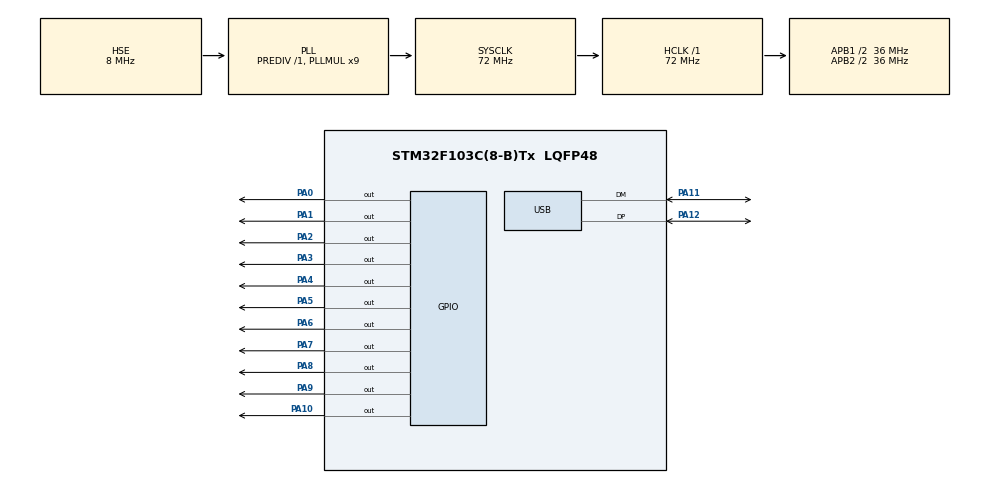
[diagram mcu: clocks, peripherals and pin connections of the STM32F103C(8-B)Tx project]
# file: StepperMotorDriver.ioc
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Mcu.Family=STM32F1
Mcu.Name=STM32F103C(8-B)Tx
Mcu.Package=LQFP48
NVIC.PriorityGroup=NVIC_PRIORITYGROUP_4
NVIC.TIM2_IRQn=true\:0\:0\:false\:false\:true\:true\:true
NVIC.TIM3_IRQn=true\:0\:0\:false\:false\:true\:true\:true
NVIC.TIM4_IRQn=true\:0\:0\:false\:false\:true\:true\:true
NVIC.USB_LP_CAN1_RX0_IRQn=true\:0\:0\:false\:false\:true\:false\:true
PA0-WKUP.Signal=GPIO_Output
PA1.Signal=GPIO_Output
PA10.Signal=GPIO_Output
PA11.Mode=Device
PA11.Signal=USB_DM
PA12.Mode=Device
PA12.Signal=USB_DP
PA13.Mode=Serial_Wire
PA13.Signal=SYS_JTMS-SWDIO
PA14.Mode=Serial_Wire
PA14.Signal=SYS_JTCK-SWCLK
PA2.Signal=GPIO_Output
PA3.Signal=GPIO_Output
PA4.Signal=GPIO_Output
PA5.Signal=GPIO_Output
PA6.Signal=GPIO_Output
PA7.Signal=GPIO_Output
PA8.Signal=GPIO_Output
PA9.Signal=GPIO_Output
PD0-OSC_IN.Mode=HSE-External-Oscillator
PD0-OSC_IN.Signal=RCC_OSC_IN
PD1-OSC_OUT.Mode=HSE-External-Oscillator
PD1-OSC_OUT.Signal=RCC_OSC_OUT
ProjectManager.HeapSize=0x200
ProjectManager.StackSize=0x400
ProjectManager.TargetToolchain=STM32CubeIDE
RCC.AHBFreq_Value=72000000
RCC.APB1CLKDivider=RCC_HCLK_DIV2
RCC.APB1Freq_Value=36000000
RCC.APB1TimFreq_Value=72000000
RCC.APB2CLKDivider=RCC_HCLK_DIV2
RCC.APB2Freq_Value=36000000
RCC.APB2TimFreq_Value=72000000
RCC.HCLKFreq_Value=72000000
RCC.PLLMUL=RCC_PLL_MUL9
RCC.PLLSourceVirtual=RCC_PLLSOURCE_HSE
RCC.SYSCLKFreq_VALUE=72000000
RCC.SYSCLKSource=RCC_SYSCLKSOURCE_PLLCLK
RCC.USBFreq_Value=48000000
RCC.USBPrescaler=RCC_USBCLKSOURCE_PLL_DIV1_5
TIM2.Period=286
TIM2.Prescaler=256
TIM3.Period=286
TIM3.Prescaler=256
TIM4.Period=286
TIM4.Prescaler=256
USB_DEVICE.CLASS_NAME_FS=CDC
USB_DEVICE.MANUFACTURER_STRING=Stephen Kingston
USB_DEVICE.PRODUCT_STRING_CDC_FS=Stephen Kingston COM Port
USB_DEVICE.VirtualMode=Cdc
USB_DEVICE.VirtualModeFS=Cdc_FS
VP_TIM2_VS_ClockSourceINT.Mode=Internal
VP_TIM3_VS_ClockSourceINT.Mode=Internal
VP_TIM4_VS_ClockSourceINT.Mode=Internal
VP_USB_DEVICE_VS_USB_DEVICE_CDC_FS.Mode=CDC_FS
board=custom

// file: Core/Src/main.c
/* USER CODE BEGIN Header */
/**
  ******************************************************************************
  * @file           : main.c
  * @brief          : Main program body
  ******************************************************************************
  * @attention
  *
  * <h2><center>&copy; Copyright (c) 2020 STMicroelectronics.
  * All rights reserved.</center></h2>
  *
  * This software component is licensed by ST under BSD 3-Clause license,
  * the "License"; You may not use this file except in compliance with the
  * License. You may obtain a copy of the License at:
  *                        opensource.org/licenses/BSD-3-Clause
  *
  ******************************************************************************
  */
/* USER CODE END Header */

#include "main.h"
#include "usb_device.h"

/* USER CODE BEGIN Includes */
#include <stdbool.h>

/* USER CODE END Includes */

/* USER CODE BEGIN PTD */

#define NO_OF_RAMP_STEPS 64
#define CLOCKWISE -1
#define ANTICLOCKWISE 1
#define MIN_INTERVAL 100.0
#define MAX_INTERVAL 1000.0
#define F_CPU 72000000UL
#define ACTIVATED 1
#define DEACTIVATED 0
#define NUM_OF_STEPPER_MOTORS 3

#define ABSOLUTE_UPPER_LIMIT 533 //30 degrees on both sides
#define ABSOLUTE_LOWER_LIMIT 0
#define INITIAL_POSITION 267 //(ABSOLUTE_UPPER_LIMIT / 2) + 1

/* USER CODE END PTD */

TIM_HandleTypeDef htim2;
TIM_HandleTypeDef htim3;
TIM_HandleTypeDef htim4;

/* USER CODE BEGIN PV */

static const int TIME_CONSTANT[NO_OF_RAMP_STEPS] = {
		1000,
		1999,
		2996,
		3992,
		4985,
		5975,
		6962,
		7945,
		8923,
		9896,
		10863,
		11825,
		12779,
		13726,
		14666,
		15598,
		16520,
		17434,
		18338,
		19232,
		20115,
		20987,
		21847,
		22695,
		23531,
		24354,
		25163,
		25959,
		26741,
		27507,
		28259,
		28996,
		29716,
		30421,
		31108,
		31779,
		32433,
		33069,
		33687,
		34287,
		34869,
		35432,
		35975,
		36499,
		37004,
		37489,
		37954,
		38398,
		38822,
		39225,
		39607,
		39969,
		40309,
		40627,
		40925,
		41200,
		41454,
		41686,
		41896,
		42084,
		42251,
		42395,
		42517,
		42617
};

static const float cosine[NO_OF_RAMP_STEPS] = {
		0.9997,
		0.9988,
		0.9973,
		0.9952,
		0.9925,
		0.9892,
		0.9853,
		0.9808,
		0.9757,
		0.97,
		0.9638,
		0.9569,
		0.9495,
		0.9415,
		0.933,
		0.9239,
		0.9142,
		0.904,
		0.8932,
		0.8819,
		0.8701,
		0.8577,
		0.8448,
		0.8315,
		0.8176,
		0.8032,
		0.7883,
		0.773,
		0.7572,
		0.7409,
		0.7242,
		0.7071,
		0.6895,
		0.6715,
		0.6532,
		0.6344,
		0.6152,
		0.5957,
		0.5758,
		0.5556,
		0.535,
		0.5141,
		0.4929,
		0.4714,
		0.4496,
		0.4275,
		0.4052,
		0.3827,
		0.3599,
		0.3369,
		0.3137,
		0.2903,
		0.2667,
		0.243,
		0.2191,
		0.1951,
		0.171,
		0.1467,
		0.1224,
		0.098,
		0.0736,
		0.0491,
		0.0245,
		0
};

volatile uint8_t previousMotionComplete = 1;
volatile uint8_t speedFactor = 1;

/* USER CODE END PV */

void SystemClock_Config(void);
static void MX_GPIO_Init(void);
static void MX_TIM2_Init(void);
static void MX_TIM3_Init(void);
static void MX_TIM4_Init(void);
/* USER CODE BEGIN PFP */
void setNextInterruptInterval(StepperMotor* motor);
void ramp(uint8_t rampCount, TIM_HandleTypeDef* timerHandle, volatile float scaleFactor);

/* USER CODE END PFP */

/* USER CODE BEGIN 0 */

void microsecondDelay()
{
	for (int i = 0; i < 2; i++)
	{}
}

void setDirectionS0(int direction)
{
	if (direction == ANTICLOCKWISE)
	{
		HAL_GPIO_WritePin(GPIOA, GPIO_PIN_1, SET);
	}
	else
	{
		HAL_GPIO_WritePin(GPIOA, GPIO_PIN_1, RESET);
	}
}

void setDirectionS1(int direction)
{
	if (direction == ANTICLOCKWISE)
	{
		HAL_GPIO_WritePin(GPIOA, GPIO_PIN_3, SET);
	}
	else
	{
		HAL_GPIO_WritePin(GPIOA, GPIO_PIN_3, RESET);
	}
}

void setDirectionS2(int direction)
{
	if (direction == ANTICLOCKWISE)
	{
		HAL_GPIO_WritePin(GPIOA, GPIO_PIN_5, SET);
	}
	else
	{
		HAL_GPIO_WritePin(GPIOA, GPIO_PIN_5, RESET);
	}
}

void sendPulseS0()
{
	 HAL_GPIO_TogglePin(GPIOA, GPIO_PIN_0);
	 microsecondDelay();
	 HAL_GPIO_TogglePin(GPIOA, GPIO_PIN_0);
}

void sendPulseS1()
{
	 HAL_GPIO_TogglePin(GPIOA, GPIO_PIN_2);
	 microsecondDelay();
	 HAL_GPIO_TogglePin(GPIOA, GPIO_PIN_2);
}

void sendPulseS2()
{
	 HAL_GPIO_TogglePin(GPIOA, GPIO_PIN_4);
	 microsecondDelay();
	 HAL_GPIO_TogglePin(GPIOA, GPIO_PIN_4);
}

void motionComplete(StepperMotor* motor)
{
	motor->currentCount = 0;
	motor->targetCount = 0;
	motor->rampingUp = 0;
	motor->rampingDown = 0;
	motor->rampUpCount = 0;
	motor->rampDownCount = 0;
	motor->estDurationOfMovement = 0;
}

void programInit()
{
	//Timer Initializations
	motor[0].timerHandle = &htim2;
	motor[1].timerHandle = &htim3;
	motor[2].timerHandle = &htim4;

	//Direction-set function pointers
	motor[0].setDirection = setDirectionS0;
	motor[1].setDirection = setDirectionS1;
	motor[2].setDirection = setDirectionS2;

	//Set pulse pointers
	motor[0].sendPulse = sendPulseS0;
	motor[1].sendPulse = sendPulseS1;
	motor[2].sendPulse = sendPulseS2;

	newCommandAvailable = 0;
	previousMotionComplete = 1;

	for (uint8_t i = 0; i < NUM_OF_STEPPER_MOTORS; i++)
	{
		motionComplete(&motor[i]);
		motor[i].scaleFactor = 1;
		motor[i].direction = CLOCKWISE;

		motor[i].absolutePosition = INITIAL_POSITION;
		motor[i].pulseFlag = 0;
		motor[i].estDurationOfMovement = 0;
	}
}

void setNextInterruptInterval(StepperMotor* motor)
{
	if (abs(motor->targetCount) > 2*NO_OF_RAMP_STEPS)
	{
		//Calculate next delay
		if (motor->currentCount < NO_OF_RAMP_STEPS)
		{
			motor->rampUpCount = abs(motor->currentCount);
			ramp(motor->rampUpCount, motor->timerHandle, motor->scaleFactor);

			motor->rampingUp = ACTIVATED;
			motor->rampingDown = DEACTIVATED;
		}
		else if (motor->targetCount - motor->currentCount < NO_OF_RAMP_STEPS)
		{
			motor->rampDownCount = abs(motor->targetCount - motor->currentCount);
			ramp(motor->rampDownCount, motor->timerHandle, motor->scaleFactor);
			motor->rampingDown = ACTIVATED;
			motor->rampingUp = DEACTIVATED;
		}
		else if (motor->targetCount == motor->currentCount)
		{
			motionComplete(motor);
		}
	}
	else
	{
		if (motor->currentCount < (int)(abs(motor->targetCount)/2.0))
		{
			motor->rampUpCount = abs((motor->currentCount));
			ramp(motor->rampUpCount, motor->timerHandle, motor->scaleFactor);
			motor->rampingUp = ACTIVATED;
			motor->rampingDown = DEACTIVATED;
		}
		else if (motor->targetCount == motor->currentCount)
		{
			motionComplete(motor);
		}
		else if (motor->currentCount >= (int)(abs(motor->targetCount)/2.0))
		{
			motor->rampDownCount = abs((motor->targetCount - motor->currentCount));
			ramp(motor->rampDownCount, motor->timerHandle, motor->scaleFactor);
			motor->rampingDown = ACTIVATED;
			motor->rampingUp = DEACTIVATED;
		}
	}
}

void ramp(uint8_t rampCount, TIM_HandleTypeDef* timerHandle, volatile float scaleFactor)
{
	uint16_t nextCompareValue = (uint16_t)(((MIN_INTERVAL/1000000.0)*(F_CPU/PRESCALER) +
			((MAX_INTERVAL - MIN_INTERVAL)/1000000.0)*(F_CPU/PRESCALER)*cosine[rampCount])*scaleFactor*speedFactor);

	__HAL_TIM_SET_AUTORELOAD(timerHandle, nextCompareValue);
}

uint8_t max(volatile int* values)
{
	uint8_t max;
	if (values[0] > values[1])
		max = 0;
	else
		max = 1;
	if (values[2] > values[max])
		max = 2;

	return max;
}

void setScaleFactors()
{

	volatile int values[3] = {motor[0].estDurationOfMovement, motor[1].estDurationOfMovement, motor[2].estDurationOfMovement};
	uint8_t maxMotorIndex = max(&values[0]);

	/*
	 * Perform check to ensure that Timer Compare Register does not overflow after scaling.
	 * Disables scaling in such a scenario - likely when scaling factor is too large -
	 * if 65000 < Initial Period * ScalingFactor
	 */

	for (uint8_t i = 0; i < NUM_OF_STEPPER_MOTORS; i++)
	{
		if (motor[i].estDurationOfMovement != 0)
		{
			motor[i].scaleFactor = (float)motor[maxMotorIndex].estDurationOfMovement/(float)motor[i].estDurationOfMovement;

			if ((MAX_INTERVAL/1000000.0)*(F_CPU/PRESCALER)*motor[i].scaleFactor > 65000)
				motor[i].scaleFactor = 1;
		}
	}
	MX_TIM2_Init();
	MX_TIM3_Init();
	MX_TIM4_Init();
}

float getDurationOfUninterruptedMovement(int numOfSteps)
{
	float duration = 0;
	if (numOfSteps > 64)
	{
		duration = (2.0 * (float)TIME_CONSTANT[NO_OF_RAMP_STEPS - 1] / 1000.0) + (((float)numOfSteps - (2 *NO_OF_RAMP_STEPS)) * (float)MIN_INTERVAL/1000.0);
	}
	else
	{
		duration = 2.0 * TIME_CONSTANT[(numOfSteps/2) - 1] / 1000;
	}

	return duration;
}

void runMotor(StepperMotor* motor)
{
	 motor->sendPulse();
	 motor->pulseFlag = 0;
	 motor->currentCount ++;
	 motor->absolutePosition += motor->direction;

	 if (motor->currentCount == motor->targetCount)
	 {
		 motionComplete(motor);
	 }
	 else if (motor->currentCount <= NO_OF_RAMP_STEPS ||
			 abs(motor->targetCount - motor->currentCount) <= NO_OF_RAMP_STEPS)
	 {
		 setNextInterruptInterval(motor);
	 }
}

void copyNewCommands()
{
	for (uint8_t i = 0; i < NUM_OF_STEPPER_MOTORS; i++)
	{
		motor[i].newAbsoluteTarget = motor[i].newAbsoluteTargetUSB;
	}
}

void configForNewCommand(StepperMotor* motor)
{
		//Define motion

		int16_t newTarget = abs(motor->absolutePosition - motor->newAbsoluteTarget);
		motor->estDurationOfMovement = getDurationOfUninterruptedMovement(newTarget);
		motor->targetCount = newTarget;
}

uint8_t performDataValidation()
{
	//Prevents motors from moving if incoming data is invalid or outside limits set by ABSOLUTE_UPPER_LIMIT and ABSOLUTE_LOWER_LIMIT
	volatile uint8_t valid;
	valid = 1;

	//Set Direction
	for (uint8_t i = 0; i < NUM_OF_STEPPER_MOTORS; i++)
	{
		if (motor[i].absolutePosition > motor[i].newAbsoluteTarget)
		{
			motor[i].newDirection = CLOCKWISE;
			motor[i].direction = CLOCKWISE;
			motor[i].setDirection(CLOCKWISE);
		}
		else if (motor->absolutePosition < motor->newAbsoluteTarget)
		{
			motor[i].newDirection = ANTICLOCKWISE;
			motor[i].direction = ANTICLOCKWISE;
			motor[i].setDirection(ANTICLOCKWISE);
		}

		if ((motor[i].direction) * abs(motor[i].absolutePosition - motor[i].newAbsoluteTarget) +  motor[i].absolutePosition > ABSOLUTE_UPPER_LIMIT
				|| (motor[i].direction) * abs(motor[i].absolutePosition - motor[i].newAbsoluteTarget) +  motor[i].absolutePosition < ABSOLUTE_LOWER_LIMIT)
		{
			valid = 0;
			break;
		}
	}

	return valid;
}

/* USER CODE END 0 */

int main(void)
{
  /* USER CODE BEGIN 1 */

	programInit();
  /* USER CODE END 1 */

  /* MCU Configuration--------------------------------------------------------*/

  /* Reset of all peripherals, Initializes the Flash interface and the Systick. */
  HAL_Init();

  /* Configure the system clock */
  SystemClock_Config();

  /* Initialize all configured peripherals */
  MX_GPIO_Init();
  MX_USB_DEVICE_Init();

  /* Infinite loop */
  /* USER CODE BEGIN WHILE */
  while (1)
  {
	  if (newCommandAvailable == 1 && previousMotionComplete == 1)
	  {
		  	newCommandAvailable = DEACTIVATED;
		  	previousMotionComplete = DEACTIVATED;

		  	copyNewCommands();

		  	//Perform check to ensure incoming data is valid
		  	uint8_t check = performDataValidation();
		  	if (check == 1)
		  	{
			  	for (uint8_t i = 0; i < NUM_OF_STEPPER_MOTORS; i++)
			  	{
			  		configForNewCommand(&motor[i]);
			  	}

				setScaleFactors();
				HAL_TIM_Base_Start_IT(&htim2);
				HAL_TIM_Base_Start_IT(&htim3);
				HAL_TIM_Base_Start_IT(&htim4);

		  	}
      }

		for (uint8_t i = 0; i < NUM_OF_STEPPER_MOTORS; i++)
		{
			 if (motor[i].pulseFlag == 1)
			 {
				 runMotor(&motor[i]);
			 }
		}

		if (motor[0].targetCount == 0 && motor[1].targetCount == 0 && motor[2].targetCount == 0)
		{
			previousMotionComplete = ACTIVATED;
		}

		/*if (previousMotionComplete == 1 && temp == 0)
		{
			  motor[0].newAbsoluteTargetUSB = 30;
			  motor[1].newAbsoluteTargetUSB = 30;
			  motor[2].newAbsoluteTargetUSB = -10;

			 newCommandAvailable = ACTIVATED;
			 temp = 1;
		}*/
    /* USER CODE END WHILE */

  }
}

void SystemClock_Config(void)
{
  RCC_OscInitTypeDef RCC_OscInitStruct = {0};
  RCC_ClkInitTypeDef RCC_ClkInitStruct = {0};
  RCC_PeriphCLKInitTypeDef PeriphClkInit = {0};

  /** Initializes the CPU, AHB and APB busses clocks
  */
  RCC_OscInitStruct.OscillatorType = RCC_OSCILLATORTYPE_HSE;
  RCC_OscInitStruct.HSEState = RCC_HSE_ON;
  RCC_OscInitStruct.HSEPredivValue = RCC_HSE_PREDIV_DIV1;
  RCC_OscInitStruct.HSIState = RCC_HSI_ON;
  RCC_OscInitStruct.PLL.PLLState = RCC_PLL_ON;
  RCC_OscInitStruct.PLL.PLLSource = RCC_PLLSOURCE_HSE;
  RCC_OscInitStruct.PLL.PLLMUL = RCC_PLL_MUL9;
  if (HAL_RCC_OscConfig(&RCC_OscInitStruct) != HAL_OK)
  {
    Error_Handler();
  }
  /** Initializes the CPU, AHB and APB busses clocks
  */
  RCC_ClkInitStruct.ClockType = RCC_CLOCKTYPE_HCLK|RCC_CLOCKTYPE_SYSCLK
                              |RCC_CLOCKTYPE_PCLK1|RCC_CLOCKTYPE_PCLK2;
  RCC_ClkInitStruct.SYSCLKSource = RCC_SYSCLKSOURCE_PLLCLK;
  RCC_ClkInitStruct.AHBCLKDivider = RCC_SYSCLK_DIV1;
  RCC_ClkInitStruct.APB1CLKDivider = RCC_HCLK_DIV2;
  RCC_ClkInitStruct.APB2CLKDivider = RCC_HCLK_DIV2;

  if (HAL_RCC_ClockConfig(&RCC_ClkInitStruct, FLASH_LATENCY_2) != HAL_OK)
  {
    Error_Handler();
  }
  PeriphClkInit.PeriphClockSelection = RCC_PERIPHCLK_USB;
  PeriphClkInit.UsbClockSelection = RCC_USBCLKSOURCE_PLL_DIV1_5;
  if (HAL_RCCEx_PeriphCLKConfig(&PeriphClkInit) != HAL_OK)
  {
    Error_Handler();
  }
}

static void MX_TIM2_Init(void)
{

  TIM_ClockConfigTypeDef sClockSourceConfig = {0};
  TIM_MasterConfigTypeDef sMasterConfig = {0};

  htim2.Instance = TIM2;
  htim2.Init.Prescaler = PRESCALER;
  htim2.Init.CounterMode = TIM_COUNTERMODE_UP;
  htim2.Init.Period = (uint16_t)(((MIN_INTERVAL/1000000.0)*(F_CPU/PRESCALER) +
			((MAX_INTERVAL - MIN_INTERVAL)/1000000.0)*(F_CPU/PRESCALER)*cosine[1])*motor[0].scaleFactor);
  htim2.Init.ClockDivision = TIM_CLOCKDIVISION_DIV1;
  htim2.Init.AutoReloadPreload = TIM_AUTORELOAD_PRELOAD_ENABLE;
  if (HAL_TIM_Base_Init(&htim2) != HAL_OK)
  {
    Error_Handler();
  }
  sClockSourceConfig.ClockSource = TIM_CLOCKSOURCE_INTERNAL;
  if (HAL_TIM_ConfigClockSource(&htim2, &sClockSourceConfig) != HAL_OK)
  {
    Error_Handler();
  }
  sMasterConfig.MasterOutputTrigger = TIM_TRGO_RESET;
  sMasterConfig.MasterSlaveMode = TIM_MASTERSLAVEMODE_DISABLE;
  if (HAL_TIMEx_MasterConfigSynchronization(&htim2, &sMasterConfig) != HAL_OK)
  {
    Error_Handler();
  }

}

static void MX_TIM3_Init(void)
{

  TIM_ClockConfigTypeDef sClockSourceConfig = {0};
  TIM_MasterConfigTypeDef sMasterConfig = {0};

  htim3.Instance = TIM3;
  htim3.Init.Prescaler = PRESCALER;
  htim3.Init.CounterMode = TIM_COUNTERMODE_UP;
  htim3.Init.Period = (uint16_t)(((MIN_INTERVAL/1000000.0)*(F_CPU/PRESCALER) +
			((MAX_INTERVAL - MIN_INTERVAL)/1000000.0)*(F_CPU/PRESCALER)*cosine[1])*motor[1].scaleFactor);
  htim3.Init.ClockDivision = TIM_CLOCKDIVISION_DIV1;
  htim3.Init.AutoReloadPreload = TIM_AUTORELOAD_PRELOAD_ENABLE;
  if (HAL_TIM_Base_Init(&htim3) != HAL_OK)
  {
    Error_Handler();
  }
  sClockSourceConfig.ClockSource = TIM_CLOCKSOURCE_INTERNAL;
  if (HAL_TIM_ConfigClockSource(&htim3, &sClockSourceConfig) != HAL_OK)
  {
    Error_Handler();
  }
  sMasterConfig.MasterOutputTrigger = TIM_TRGO_RESET;
  sMasterConfig.MasterSlaveMode = TIM_MASTERSLAVEMODE_DISABLE;
  if (HAL_TIMEx_MasterConfigSynchronization(&htim3, &sMasterConfig) != HAL_OK)
  {
    Error_Handler();
  }

}

static void MX_TIM4_Init(void)
{

  TIM_ClockConfigTypeDef sClockSourceConfig = {0};
  TIM_MasterConfigTypeDef sMasterConfig = {0};

  htim4.Instance = TIM4;
  htim4.Init.Prescaler = PRESCALER;
  htim4.Init.CounterMode = TIM_COUNTERMODE_UP;
  htim4.Init.Period = (uint16_t)(((MIN_INTERVAL/1000000.0)*(F_CPU/PRESCALER) +
			((MAX_INTERVAL - MIN_INTERVAL)/1000000.0)*(F_CPU/PRESCALER)*cosine[1])*motor[2].scaleFactor);
  htim4.Init.ClockDivision = TIM_CLOCKDIVISION_DIV1;
  htim4.Init.AutoReloadPreload = TIM_AUTORELOAD_PRELOAD_ENABLE;
  if (HAL_TIM_Base_Init(&htim4) != HAL_OK)
  {
    Error_Handler();
  }
  sClockSourceConfig.ClockSource = TIM_CLOCKSOURCE_INTERNAL;
  if (HAL_TIM_ConfigClockSource(&htim4, &sClockSourceConfig) != HAL_OK)
  {
    Error_Handler();
  }
  sMasterConfig.MasterOutputTrigger = TIM_TRGO_RESET;
  sMasterConfig.MasterSlaveMode = TIM_MASTERSLAVEMODE_DISABLE;
  if (HAL_TIMEx_MasterConfigSynchronization(&htim4, &sMasterConfig) != HAL_OK)
  {
    Error_Handler();
  }

}

static void MX_GPIO_Init(void)
{
  GPIO_InitTypeDef GPIO_InitStruct = {0};

  /* GPIO Ports Clock Enable */
  __HAL_RCC_GPIOD_CLK_ENABLE();
  __HAL_RCC_GPIOA_CLK_ENABLE();

  /*Configure GPIO pin Output Level */
  HAL_GPIO_WritePin(GPIOA, GPIO_PIN_0|GPIO_PIN_1|GPIO_PIN_2|GPIO_PIN_3
                          |GPIO_PIN_4|GPIO_PIN_5|GPIO_PIN_6|GPIO_PIN_7
                          |GPIO_PIN_8|GPIO_PIN_9|GPIO_PIN_10, GPIO_PIN_RESET);

  /*Configure GPIO pins : PA0 PA1 PA2 PA3
                           PA4 PA5 PA6 PA7
                           PA8 PA9 PA10 */
  GPIO_InitStruct.Pin = GPIO_PIN_0|GPIO_PIN_1|GPIO_PIN_2|GPIO_PIN_3
                          |GPIO_PIN_4|GPIO_PIN_5|GPIO_PIN_6|GPIO_PIN_7
                          |GPIO_PIN_8|GPIO_PIN_9|GPIO_PIN_10;
  GPIO_InitStruct.Mode = GPIO_MODE_OUTPUT_PP;
  GPIO_InitStruct.Pull = GPIO_NOPULL;
  GPIO_InitStruct.Speed = GPIO_SPEED_FREQ_LOW;
  HAL_GPIO_Init(GPIOA, &GPIO_InitStruct);

}

void Error_Handler(void)
{
}

/************************ (C) COPYRIGHT STMicroelectronics *****END OF FILE****/
